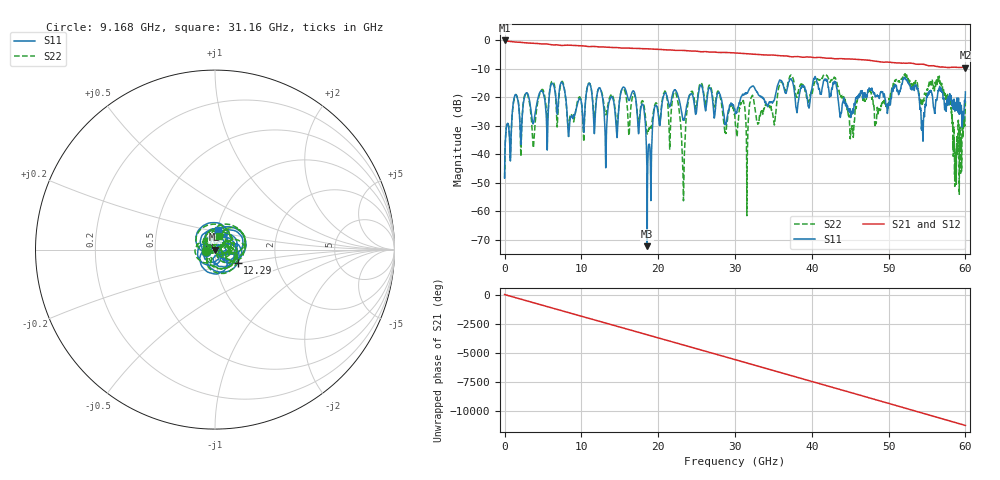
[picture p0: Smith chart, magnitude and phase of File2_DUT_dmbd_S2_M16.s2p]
! AtaiTec Touchstone File
! Original File Name: D:\for_P370_TG2\S2_M16.s2p
! New File Name:  D:\for_P370_TG2\S2_M16.s2p_DUT.s2p
! Total number of ports = 2
! Total number of frequency points = 10000
# GHZ  S  MA  R  50
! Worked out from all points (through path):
!   10000 points, 6 MHz to 60 GHz, reference 50 ohm
!   highest |S21| = -0.03 dB at 6 MHz (marker M1); lowest = -9.6 dB at 60 GHz (marker M2)
!   group delay of S21, straight-line fit = 518 ps
!   lowest |S11| = -72.2 dB at 18.58 GHz (marker M3), VSWR 1.00, Z = 50 - j0.019 ohm
!   |S11| at or under -10 dB: start of sweep to end of sweep
!   |S22| runs from -61.5 to -11.7 dB; largest |S21 - S12| = 8.4e-12
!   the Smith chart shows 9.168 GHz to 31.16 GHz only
!   S11 on the Smith chart (normalised r, x): 9.168 GHz: 0.91, -0.03; 12.29 GHz: 1.27, -0.19; 31.16 GHz: 1.01, +0.23
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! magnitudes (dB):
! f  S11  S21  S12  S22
! 6 MHz  -48.4  0.0  0.0  -48.3
! 1.434 GHz  -19.0  -0.6  -0.6  -19.0
! 9.168 GHz  -25.8  -1.8  -1.8  -26.1
! 10.01 GHz  -21.8  -1.9  -1.9  -21.8
! 12.29 GHz  -16.7  -2.3  -2.3  -16.8
! 13.19 GHz  -42.4  -2.3  -2.3  -26.0
! 16.81 GHz  -17.8  -2.8  -2.8  -18.7
! 18.58 GHz  -72.2  -3.0  -3.0  -32.7
! 20 GHz  -25.7  -3.2  -3.2  -24.9
! 22.28 GHz  -17.5  -3.5  -3.5  -18.3
! 23.26 GHz  -27.8  -3.5  -3.5  -50.7
! 24.06 GHz  -19.3  -3.7  -3.7  -19.4
! 25.54 GHz  -15.7  -4.0  -4.0  -15.0
! 30.01 GHz  -24.6  -4.4  -4.4  -27.4
! 31.16 GHz  -18.9  -4.6  -4.6  -22.2
! 40 GHz  -17.2  -5.9  -5.9  -18.9
! 42.98 GHz  -14.5  -6.4  -6.4  -13.1
! 45.22 GHz  -25.5  -6.5  -6.5  -30.5
! 50 GHz  -22.4  -7.6  -7.6  -21.1
! 56.67 GHz  -16.3  -9.4  -9.4  -14.5
! 58.7 GHz  -22.4  -9.4  -9.4  -41.5
! 60 GHz  -18.1  -9.6  -9.6  -21.2
